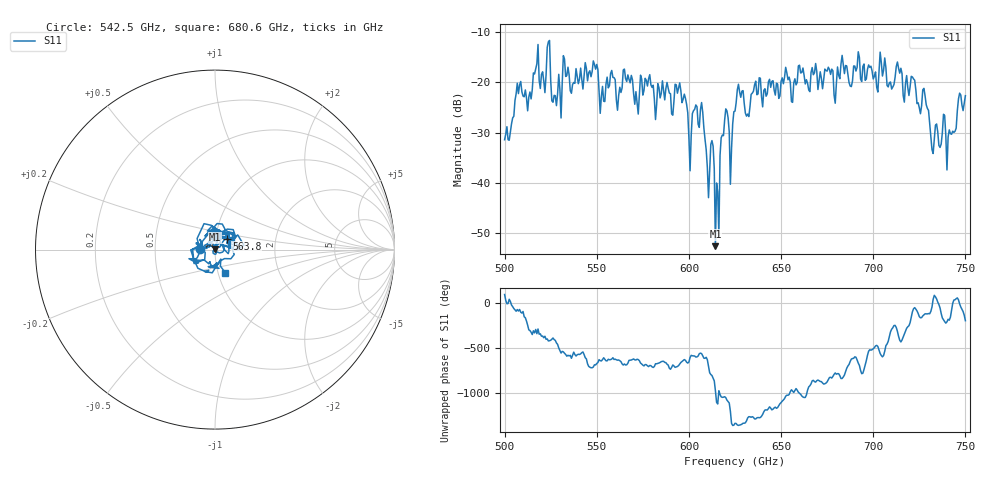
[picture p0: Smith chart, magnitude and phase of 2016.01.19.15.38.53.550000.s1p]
!Created with skrf (http://scikit-rf.org).
# GHz S RI R 50.0
!freq ReS11 ImS11
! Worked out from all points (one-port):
!   401 points, 500 GHz to 750 GHz, reference 50 ohm
!   lowest |S11| = -52.6 dB at 614.4 GHz (marker M1), VSWR 1.00, Z = 49.9 + j0.229 ohm
!   |S11| at or under -10 dB: start of sweep to end of sweep
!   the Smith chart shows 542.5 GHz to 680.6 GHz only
!   S11 on the Smith chart (normalised r, x): 542.5 GHz: 0.84, +0.01; 563.8 GHz: 1.13, +0.14; 680.6 GHz: 1.08, -0.29
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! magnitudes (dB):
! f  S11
! 500 GHz  -31.4
! 516.9 GHz  -17.3
! 520.6 GHz  -17.9
! 523.8 GHz  -12.0
! 526.9 GHz  -22.6
! 531.2 GHz  -20.3
! 542.5 GHz  -21.3
! 562.5 GHz  -21.0
! 563.8 GHz  -21.1
! 593.8 GHz  -22.2
! 600.6 GHz  -37.6
! 607.5 GHz  -26.0
! 610 GHz  -37.0
! 612.5 GHz  -31.6
! 614.4 GHz  -52.6
! 615.6 GHz  -41.8
! 619.4 GHz  -27.5
! 623.1 GHz  -33.2
! 625 GHz  -25.7
! 656.2 GHz  -24.0
! 680.6 GHz  -17.0
! 687.5 GHz  -20.8
! 705 GHz  -18.8
! 718.8 GHz  -21.1
! 728.1 GHz  -22.7
! 732.5 GHz  -34.2
! 741.2 GHz  -29.5
! 750 GHz  -22.7
